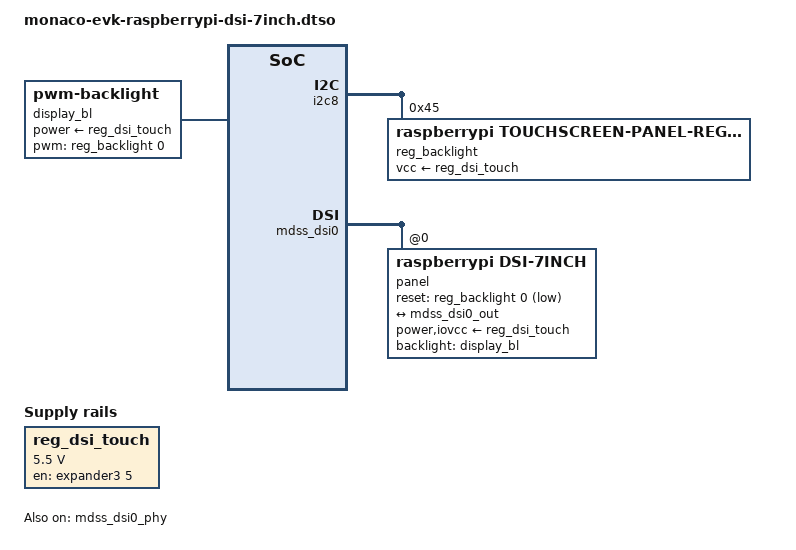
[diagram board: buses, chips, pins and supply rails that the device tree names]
// SPDX-License-Identifier: BSD-3-Clause
/*
 * Copyright (c) Qualcomm Technologies, Inc. and/or its subsidiaries.
 */
/dts-v1/;
/plugin/;

#include <dt-bindings/gpio/gpio.h>

&{/} {
	display_bl: backlight {
		compatible = "pwm-backlight";
		power-supply = <&reg_dsi_touch>;
		pwms = <&reg_backlight 0 50000 0>;
	};

	reg_dsi_touch: regulator-touch {
		compatible = "regulator-fixed";
		regulator-name = "rpi-touch";
		regulator-min-microvolt = <5500000>;
		regulator-max-microvolt = <5500000>;
		gpio = <&expander3 5 GPIO_ACTIVE_HIGH>;
		enable-active-high;
		regulator-always-on;
	};
};

&i2c8 {
	qcom,load-firmware;
	qcom,xfer-mode = <1>;

	status = "okay";

	#address-cells = <1>;
	#size-cells = <0>;

	reg_backlight: reg_backlight@45 {
		compatible = "raspberrypi,touchscreen-panel-regulator-v2";
		reg = <0x45>;

		vcc-supply = <&reg_dsi_touch>;
		gpio-controller;
		#gpio-cells = <2>;
		#pwm-cells = <3>;
	};
};

&mdss_dsi0 {
	vdda-supply = <&vreg_l1c>;

	status = "okay";

	#address-cells = <1>;
	#size-cells = <0>;

	panel@0 {
		compatible = "raspberrypi,dsi-7inch";
		reg = <0>;

		reset-gpios = <&reg_backlight 0 GPIO_ACTIVE_LOW>;
		power-supply = <&reg_dsi_touch>;
		iovcc-supply = <&reg_dsi_touch>;
		backlight = <&display_bl>;

		port {
			panel0_in: endpoint {
				remote-endpoint = <&mdss_dsi0_out>;
			};
		};
	};
};

&mdss_dsi0_out {
	remote-endpoint = <&panel0_in>;
	data-lanes = <0 1>;
};

&mdss_dsi0_phy {
	vdds-supply = <&vreg_l4a>;

	status = "okay";
};
